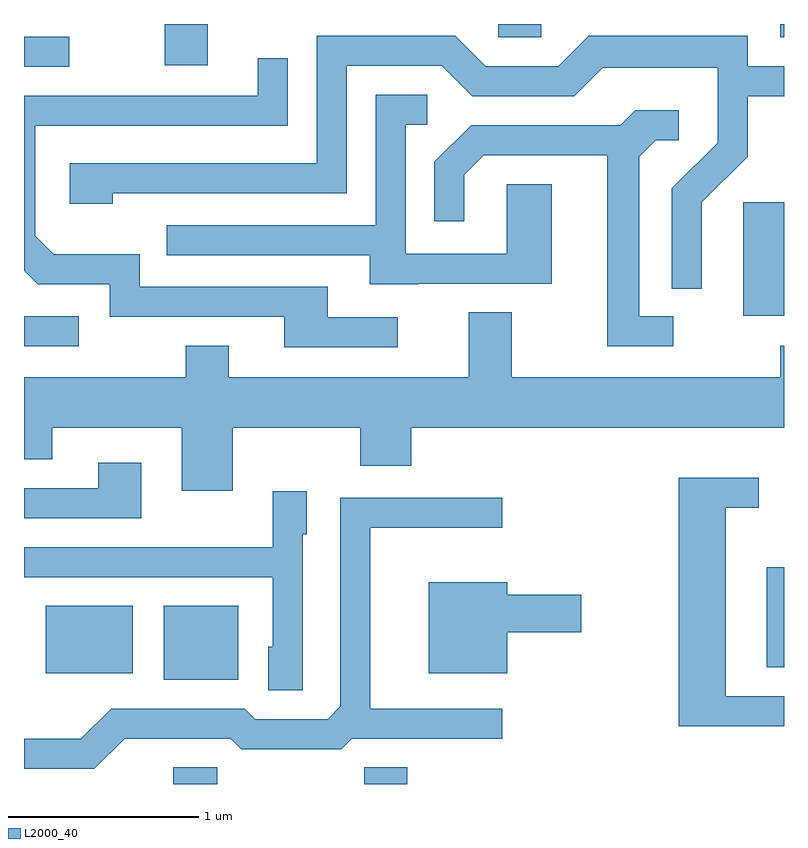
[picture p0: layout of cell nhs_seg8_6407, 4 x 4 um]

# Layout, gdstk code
import gdstk
lib = gdstk.Library(unit=1e-6, precision=1e-09)
def R(c, l, rs):  # rectangles x0, y0, x1, y1
    for r in rs: c.add(gdstk.rectangle(r[:2], r[2:], *l))
def P(c, l, *ps):  # polygons
    for p in ps: c.add(gdstk.Polygon(p, *l))
L2000_40 = (2000, 40)

nhs_seg8_6407 = lib.new_cell('nhs_seg8_6407')
R(nhs_seg8_6407, L2000_40, [(378.396,1812.342,378.629,1812.429), (379.401,1812.342,379.629,1812.429), (378.346,1812.891,378.739,1813.279), (377.726,1812.926,378.184,1813.279), (381.521,1812.956,381.611,1813.483), (377.611,1814.646,377.898,1814.804), (381.396,1814.806,381.611,1815.404), (377.611,1816.116,377.848,1816.274), (378.351,1816.126,378.579,1816.342), (380.106,1816.271,380.334,1816.342), (381.591,1816.271,381.611,1816.342)])
P(nhs_seg8_6407, L2000_40, [(381.179,1815.404),(381.419,1815.644),(381.419,1815.961),(381.611,1815.961),(381.611,1816.119),(381.419,1816.119),(381.419,1816.279),(380.584,1816.279),(380.424,1816.119),(380.042,1816.119),(379.882,1816.279),(379.151,1816.279),(379.151,1815.609),(377.851,1815.609),(377.851,1815.396),(378.079,1815.396),(378.079,1815.451),(379.309,1815.451),(379.309,1816.121),(379.809,1816.121),(379.969,1815.961),(380.507,1815.961),(380.657,1816.111),(381.261,1816.111),(381.261,1815.717),(381.021,1815.477),(381.021,1814.948),(381.179,1814.948)],
  [(379.578,1814.799),(379.209,1814.799),(379.209,1814.959),(378.219,1814.959),(378.219,1815.129),(377.767,1815.129),(377.669,1815.227),(377.669,1815.806),(378.999,1815.806),(378.999,1816.163),(378.841,1816.163),(378.841,1815.964),(377.611,1815.964),(377.611,1815.044),(377.684,1814.971),(378.061,1814.971),(378.061,1814.801),(378.981,1814.801),(378.981,1814.641),(379.578,1814.641)],
  [(379.685,1814.976),(380.389,1814.976),(380.389,1815.499),(380.151,1815.499),(380.151,1815.134),(379.619,1815.134),(379.619,1815.811),(379.733,1815.811),(379.733,1815.969),(379.461,1815.969),(379.461,1815.284),(378.363,1815.284),(378.363,1815.126),(379.431,1815.126),(379.431,1814.971),(379.685,1814.971)],
  [(381.028,1814.804),(380.849,1814.804),(380.849,1815.644),(380.937,1815.731),(381.058,1815.731),(381.058,1815.889),(380.829,1815.889),(380.749,1815.809),(379.964,1815.809),(379.771,1815.617),(379.771,1815.303),(379.929,1815.303),(379.929,1815.549),(380.032,1815.651),(380.681,1815.651),(380.681,1814.646),(381.028,1814.646)],
  [(378.709,1814.216),(379.381,1814.216),(379.381,1814.016),(379.649,1814.016),(379.649,1814.216),(381.611,1814.216),(381.611,1814.649),(381.591,1814.649),(381.591,1814.484),(380.179,1814.484),(380.179,1814.824),(379.951,1814.824),(379.951,1814.484),(378.689,1814.484),(378.689,1814.649),(378.461,1814.649),(378.461,1814.484),(377.611,1814.484),(377.611,1814.051),(377.759,1814.051),(377.759,1814.216),(378.441,1814.216),(378.441,1813.886),(378.709,1813.886)],
  [(378.229,1814.034),(378.001,1814.034),(378.001,1813.899),(377.611,1813.899),(377.611,1813.741),(378.229,1813.741)],
  [(381.611,1812.804),(381.304,1812.804),(381.304,1813.796),(381.478,1813.796),(381.478,1813.954),(381.056,1813.954),(381.056,1812.646),(381.611,1812.646)],
  [(379.079,1813.656),(379.099,1813.656),(379.099,1813.884),(378.921,1813.884),(378.921,1813.589),(377.611,1813.589),(377.611,1813.431),(378.921,1813.431),(378.921,1813.064),(378.896,1813.064),(378.896,1812.836),(379.079,1812.836)],
  [(378.142,1812.581),(378.699,1812.581),(378.754,1812.526),(379.282,1812.526),(379.337,1812.581),(380.128,1812.581),(380.128,1812.739),(379.434,1812.739),(379.434,1813.691),(380.128,1813.691),(380.128,1813.849),(379.276,1813.849),(379.276,1812.752),(379.209,1812.684),(378.827,1812.684),(378.772,1812.739),(378.069,1812.739),(377.909,1812.579),(377.611,1812.579),(377.611,1812.421),(377.982,1812.421)],
  [(380.154,1813.141),(380.544,1813.141),(380.544,1813.339),(380.154,1813.339),(380.154,1813.404),(379.741,1813.404),(379.741,1812.926),(380.154,1812.926)])

lib.write_gds('nhs_seg8_6407.gds')
